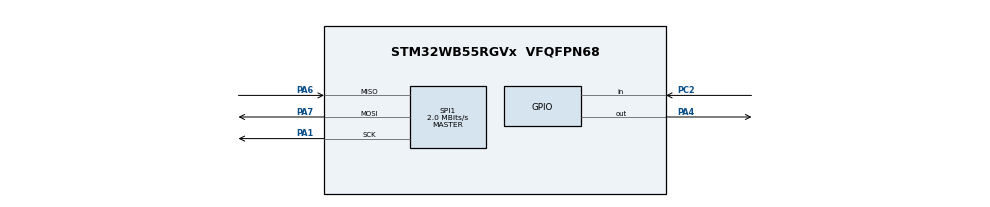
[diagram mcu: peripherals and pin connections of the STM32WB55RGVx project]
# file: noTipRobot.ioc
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Mcu.Family=STM32WB
Mcu.Name=STM32WB55RGVx
Mcu.Package=VFQFPN68
NVIC.PriorityGroup=NVIC_PRIORITYGROUP_4
OSC_IN.GPIO_Label=RCC_OSC_IN
OSC_IN.Signal=RCC_OSC_IN
OSC_OUT.GPIO_Label=RCC_OSC_OUT
OSC_OUT.Signal=RCC_OSC_OUT
P-NUCLEO-WB55-NUCLEO.BUTTON=1
P-NUCLEO-WB55-NUCLEO.BUTTON2=1
P-NUCLEO-WB55-NUCLEO.BUTTON3=1
P-NUCLEO-WB55-NUCLEO.LD1=true
P-NUCLEO-WB55-NUCLEO.LD2=true
P-NUCLEO-WB55-NUCLEO.LD3=true
P-NUCLEO-WB55-NUCLEO.VCP=true
PA1.Mode=Full_Duplex_Master
PA1.Signal=SPI1_SCK
PA11.GPIO_Label=USB_DM
PA11.Signal=USB_DM
PA12.GPIO_Label=USB_DP
PA12.Signal=USB_DP
PA13.GPIO_Label=JTMS
PA13.Signal=SYS_JTMS-SWDIO
PA14.GPIO_Label=JTCK
PA14.Signal=SYS_JTCK-SWCLK
PA4.Signal=GPIO_Output
PA6.Mode=Full_Duplex_Master
PA6.Signal=SPI1_MISO
PA7.Mode=Full_Duplex_Master
PA7.Signal=SPI1_MOSI
PB3.GPIO_Label=JTDO
PB3.Signal=SYS_JTDO-SWO
PB6.Signal=USART1_TX
PB7.Signal=USART1_RX
PC13.GPIO_Label=SYS_WKUP2
PC13.Signal=SYS_WKUP2
PC14-OSC32_IN.GPIO_Label=RCC_OSC32_IN
PC14-OSC32_IN.Signal=RCC_OSC32_IN
PC15-OSC32_OUT.GPIO_Label=RCC_OSC32_OUT
PC15-OSC32_OUT.Signal=RCC_OSC32_OUT
PC2.Signal=GPIO_Input
ProjectManager.HeapSize=0x200
ProjectManager.StackSize=0x400
ProjectManager.TargetToolchain=STM32CubeIDE
RCC.ADCFreq_Value=128000000
RCC.AHBFreq_Value=32000000
RCC.APB1Freq_Value=32000000
RCC.APB1TimFreq_Value=32000000
RCC.APB2Freq_Value=32000000
RCC.APB2TimFreq_Value=32000000
RCC.APB3Freq_Value=16000000
RCC.CortexFreq_Value=32000000
RCC.HCLKFreq_Value=32000000
RCC.HSE_VALUE=32000000
RCC.HSI48_VALUE=48000000
RCC.HSI_VALUE=16000000
RCC.LSE_VALUE=32768
RCC.MSIClockRange=RCC_MSIRANGE_10
RCC.SMPSCLockSelection=RCC_SMPSCLKSOURCE_HSI
RCC.SMPSCLockSelectionVirtual=RCC_SMPSCLKSOURCE_HSI
RCC.SMPSCLockSelectionVirtualVirtual=RCC_SMPSCLKSOURCE_HSI
RCC.SMPSDivider=1
RCC.SYSCLKFreq_VALUE=32000000
RCC.USBFreq_Value=128000000
RCC.VCOOutputFreq_Value=256000000
SPI1.BaudRatePrescaler=SPI_BAUDRATEPRESCALER_16
SPI1.CalculateBaudRate=2.0 MBits/s
SPI1.DataSize=SPI_DATASIZE_8BIT
SPI1.Direction=SPI_DIRECTION_2LINES
SPI1.Mode=SPI_MODE_MASTER
SPI1.NSSPMode=SPI_NSS_PULSE_DISABLE
SPI1.VirtualType=VM_MASTER
VP_MEMORYMAP_VS_MEMORYMAP.Mode=CurAppReg
VP_P-NUCLEO-WB55-NUCLEO_VS_BSP_COMMON.Mode=COMMON
board=P-NUCLEO-WB55-NUCLEO

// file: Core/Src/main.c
/* USER CODE BEGIN Header */
/**
  ******************************************************************************
  * @file           : main.c
  * @brief          : Main program body
  ******************************************************************************
  * @attention
  *
  * Copyright (c) 2024 STMicroelectronics.
  * All rights reserved.
  *
  * This software is licensed under terms that can be found in the LICENSE file
  * in the root directory of this software component.
  * If no LICENSE file comes with this software, it is provided AS-IS.
  *
  ******************************************************************************
  */
/* USER CODE END Header */
#include "main.h"

/* USER CODE BEGIN Includes */

#include <stdio.h> // Need for SprintF

/* USER CODE END Includes */

COM_InitTypeDef BspCOMInit;

SPI_HandleTypeDef hspi1;

/* USER CODE BEGIN PV */
// create constants that represent available instructions we can send
char uart_buf[50];
int uart_buf_len;
uint8_t spi_buf[20];

/* USER CODE END PV */

void SystemClock_Config(void);
void PeriphCommonClock_Config(void);
static void MX_GPIO_Init(void);
static void MX_SPI1_Init(void);

int main(void)
{

  /* USER CODE BEGIN 1 */
	// Declare variables
	// Create uart buffer (50) to contain the strings that we want to print to serial terminal
	// Create an int var the holds length of buffer - empty var for now
	// create spi buf (20) to send and receive spi data

	//
  /* USER CODE END 1 */

  /* MCU Configuration--------------------------------------------------------*/

  /* Reset of all peripherals, Initializes the Flash interface and the Systick. */
  HAL_Init();

  /* Configure the system clock */
  SystemClock_Config();

  /* Configure the peripherals common clocks */
  PeriphCommonClock_Config();

  /* Initialize all configured peripherals */
  MX_GPIO_Init();
  MX_SPI1_Init();
  /* USER CODE BEGIN 2 */

  HAL_GPIO_WritePin(GPIOA, GPIO_PIN_4, GPIO_PIN_SET); // make sure CS[chip select]/NSS pin defaults as high

  // UART Buffer initialization
  usart_buf_len = sprintf(uart_buf, "SPI TEST\r\n");
  HAL_UART_Transmit(&huart2, (uint8_t *)uart_buf, uart_buf_len, 100);

  uint8_t read_cmd = 0x80 | 0x3B; // Read ACCEL_XOUT_H register (0x3B) with read bit set (0x80) Setting MSBit to 1 (indicates read operation)
  uint8_t accel_data[6] = {0};

  //
  HAL_GPIO_WritePin(GPIOA, GPIO_PIN_4, GPIO_PIN_RESET); // Pulling CS/NSS line low - Clear Port Pin

  // Transmit cmd and receive data
  HAL_SPI_Transmit(&hspi1, &read_cmd, 1, 100); // Transmit cmd
  HAL_SPI_Receive(&hspi1, accel_data, 6, 100); // Receiving 6 bytes of data

  // Release CS Line
  HAL_GPIO_WritePin(GPIOA, GPIO_PIN_4, GPIO_PIN_SET);

  // Combining High and Low bytes of accelerometer data
  int16_t accelx = (int16_t)(accel_data[0] << 8 | accel_data[1]);
  int16_t accely = (int16_t)(accel_data[2] << 8 | accel_data[3]);
  int16_t accelz = (int16_t)(accel_data[4] << 8 | accel_data[5]);

  // Printing accel data to UART
  uart_buf_len = sprintf(uart_buf, "Accelerometer data X: %d, Y: %d, Z: %d\r\n", accel_x, accel_y, accel_z);
  HAL_UART_Transmit(&huart2, (uint8_t *)uart_buf, uart_buf_len, 100);

  /* USER CODE END 2 */

  /* Initialize leds */
  BSP_LED_Init(LED_BLUE);
  BSP_LED_Init(LED_GREEN);
  BSP_LED_Init(LED_RED);

  /* Initialize USER push-button, will be used to trigger an interrupt each time it's pressed.*/
  BSP_PB_Init(BUTTON_SW1, BUTTON_MODE_EXTI);
  BSP_PB_Init(BUTTON_SW2, BUTTON_MODE_EXTI);
  BSP_PB_Init(BUTTON_SW3, BUTTON_MODE_EXTI);

  /* Initialize COM1 port (115200, 8 bits (7-bit data + 1 stop bit), no parity */
  BspCOMInit.BaudRate   = 115200;
  BspCOMInit.WordLength = COM_WORDLENGTH_8B;
  BspCOMInit.StopBits   = COM_STOPBITS_1;
  BspCOMInit.Parity     = COM_PARITY_NONE;
  BspCOMInit.HwFlowCtl  = COM_HWCONTROL_NONE;
  if (BSP_COM_Init(COM1, &BspCOMInit) != BSP_ERROR_NONE)
  {
    Error_Handler();
  }

  /* Infinite loop */
  /* USER CODE BEGIN WHILE */
  while (1)
  {
	  HAL_GPIO_TogglePin(GPIOB, GPIO_PIN_5);
	  HAL_Delay(500);
    /* USER CODE END WHILE */

  }
}

void SystemClock_Config(void)
{
  RCC_OscInitTypeDef RCC_OscInitStruct = {0};
  RCC_ClkInitTypeDef RCC_ClkInitStruct = {0};

  /** Configure the main internal regulator output voltage
  */
  __HAL_PWR_VOLTAGESCALING_CONFIG(PWR_REGULATOR_VOLTAGE_SCALE1);

  /** Initializes the RCC Oscillators according to the specified parameters
  * in the RCC_OscInitTypeDef structure.
  */
  RCC_OscInitStruct.OscillatorType = RCC_OSCILLATORTYPE_HSI|RCC_OSCILLATORTYPE_MSI;
  RCC_OscInitStruct.HSIState = RCC_HSI_ON;
  RCC_OscInitStruct.MSIState = RCC_MSI_ON;
  RCC_OscInitStruct.HSICalibrationValue = RCC_HSICALIBRATION_DEFAULT;
  RCC_OscInitStruct.MSICalibrationValue = RCC_MSICALIBRATION_DEFAULT;
  RCC_OscInitStruct.MSIClockRange = RCC_MSIRANGE_10;
  RCC_OscInitStruct.PLL.PLLState = RCC_PLL_NONE;
  if (HAL_RCC_OscConfig(&RCC_OscInitStruct) != HAL_OK)
  {
    Error_Handler();
  }

  /** Configure the SYSCLKSource, HCLK, PCLK1 and PCLK2 clocks dividers
  */
  RCC_ClkInitStruct.ClockType = RCC_CLOCKTYPE_HCLK4|RCC_CLOCKTYPE_HCLK2
                              |RCC_CLOCKTYPE_HCLK|RCC_CLOCKTYPE_SYSCLK
                              |RCC_CLOCKTYPE_PCLK1|RCC_CLOCKTYPE_PCLK2;
  RCC_ClkInitStruct.SYSCLKSource = RCC_SYSCLKSOURCE_MSI;
  RCC_ClkInitStruct.AHBCLKDivider = RCC_SYSCLK_DIV1;
  RCC_ClkInitStruct.APB1CLKDivider = RCC_HCLK_DIV1;
  RCC_ClkInitStruct.APB2CLKDivider = RCC_HCLK_DIV1;
  RCC_ClkInitStruct.AHBCLK2Divider = RCC_SYSCLK_DIV1;
  RCC_ClkInitStruct.AHBCLK4Divider = RCC_SYSCLK_DIV1;

  if (HAL_RCC_ClockConfig(&RCC_ClkInitStruct, FLASH_LATENCY_1) != HAL_OK)
  {
    Error_Handler();
  }
}

void PeriphCommonClock_Config(void)
{
  RCC_PeriphCLKInitTypeDef PeriphClkInitStruct = {0};

  /** Initializes the peripherals clock
  */
  PeriphClkInitStruct.PeriphClockSelection = RCC_PERIPHCLK_SMPS;
  PeriphClkInitStruct.SmpsClockSelection = RCC_SMPSCLKSOURCE_HSI;
  PeriphClkInitStruct.SmpsDivSelection = RCC_SMPSCLKDIV_RANGE0;

  if (HAL_RCCEx_PeriphCLKConfig(&PeriphClkInitStruct) != HAL_OK)
  {
    Error_Handler();
  }
}

static void MX_SPI1_Init(void)
{

  /* SPI1 parameter configuration*/
  hspi1.Instance = SPI1;
  hspi1.Init.Mode = SPI_MODE_MASTER;
  hspi1.Init.Direction = SPI_DIRECTION_2LINES;
  hspi1.Init.DataSize = SPI_DATASIZE_8BIT;
  hspi1.Init.CLKPolarity = SPI_POLARITY_LOW;
  hspi1.Init.CLKPhase = SPI_PHASE_1EDGE;
  hspi1.Init.NSS = SPI_NSS_SOFT;
  hspi1.Init.BaudRatePrescaler = SPI_BAUDRATEPRESCALER_16;
  hspi1.Init.FirstBit = SPI_FIRSTBIT_MSB;
  hspi1.Init.TIMode = SPI_TIMODE_DISABLE;
  hspi1.Init.CRCCalculation = SPI_CRCCALCULATION_DISABLE;
  hspi1.Init.CRCPolynomial = 7;
  hspi1.Init.CRCLength = SPI_CRC_LENGTH_DATASIZE;
  hspi1.Init.NSSPMode = SPI_NSS_PULSE_DISABLE;
  if (HAL_SPI_Init(&hspi1) != HAL_OK)
  {
    Error_Handler();
  }

}

static void MX_GPIO_Init(void)
{
  GPIO_InitTypeDef GPIO_InitStruct = {0};

  /* GPIO Ports Clock Enable */
  __HAL_RCC_GPIOC_CLK_ENABLE();
  __HAL_RCC_GPIOA_CLK_ENABLE();
  __HAL_RCC_GPIOB_CLK_ENABLE();

  /*Configure GPIO pin Output Level */
  HAL_GPIO_WritePin(GPIOA, GPIO_PIN_4, GPIO_PIN_RESET);

  /*Configure GPIO pin : PC2 */
  GPIO_InitStruct.Pin = GPIO_PIN_2;
  GPIO_InitStruct.Mode = GPIO_MODE_INPUT;
  GPIO_InitStruct.Pull = GPIO_NOPULL;
  HAL_GPIO_Init(GPIOC, &GPIO_InitStruct);

  /*Configure GPIO pin : PA4 */
  GPIO_InitStruct.Pin = GPIO_PIN_4;
  GPIO_InitStruct.Mode = GPIO_MODE_OUTPUT_PP;
  GPIO_InitStruct.Pull = GPIO_NOPULL;
  GPIO_InitStruct.Speed = GPIO_SPEED_FREQ_LOW;
  HAL_GPIO_Init(GPIOA, &GPIO_InitStruct);

  /*Configure GPIO pins : USB_DM_Pin USB_DP_Pin */
  GPIO_InitStruct.Pin = USB_DM_Pin|USB_DP_Pin;
  GPIO_InitStruct.Mode = GPIO_MODE_AF_PP;
  GPIO_InitStruct.Pull = GPIO_NOPULL;
  GPIO_InitStruct.Speed = GPIO_SPEED_FREQ_LOW;
  GPIO_InitStruct.Alternate = GPIO_AF10_USB;
  HAL_GPIO_Init(GPIOA, &GPIO_InitStruct);

}

void Error_Handler(void)
{
  __disable_irq();
  while (1)
  {
  }
}
